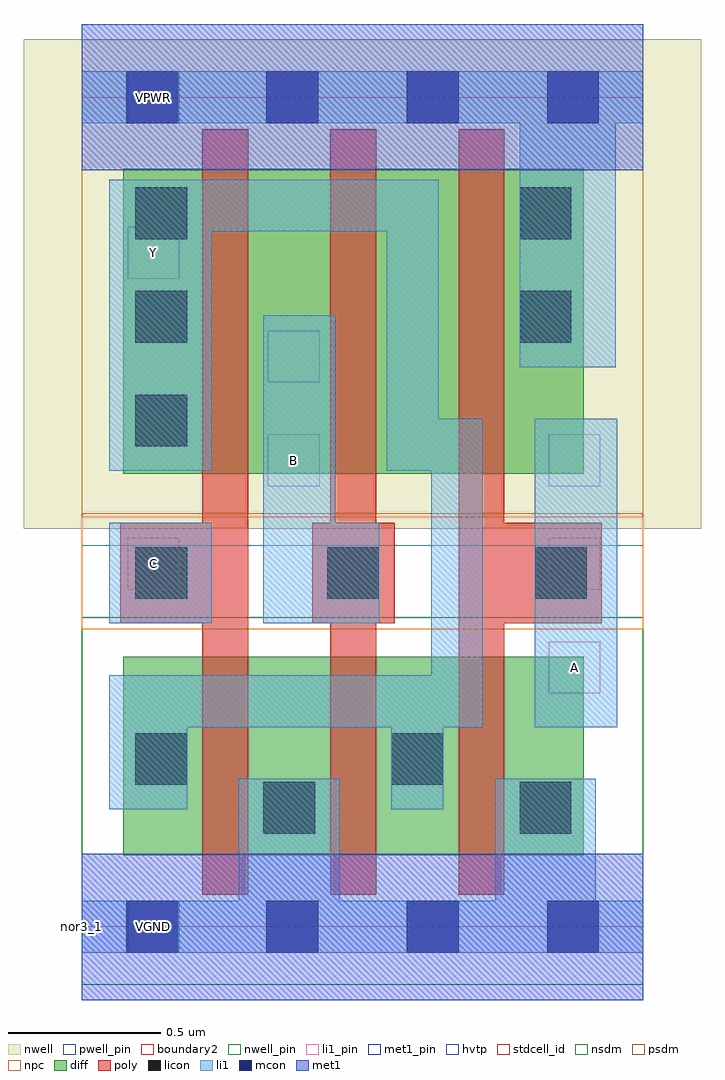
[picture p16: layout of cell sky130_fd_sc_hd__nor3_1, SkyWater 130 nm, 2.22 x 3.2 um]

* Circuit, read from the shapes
.subckt sky130_fd_sc_hd__nor3_1 A B C VGND VNB VPB VPWR Y
XM1 VGND C Y VNB sky130_fd_pr__nfet_01v8 w=0.65 l=0.15
XM2 Y B VGND VNB sky130_fd_pr__nfet_01v8 w=0.65 l=0.15
XM3 VGND A Y VNB sky130_fd_pr__nfet_01v8 w=0.65 l=0.15
XM4 n1 C Y VPB sky130_fd_pr__pfet_01v8_hvt w=1 l=0.15
XM5 n2 B n1 VPB sky130_fd_pr__pfet_01v8_hvt w=1 l=0.15
XM6 VPWR A n2 VPB sky130_fd_pr__pfet_01v8_hvt w=1 l=0.15
.ends

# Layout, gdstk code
import gdstk
lib = gdstk.Library(unit=1e-6, precision=1e-09)
def R(c, l, rs):  # rectangles x0, y0, x1, y1
    for r in rs: c.add(gdstk.rectangle(r[:2], r[2:], *l))
def P(c, l, *ps):  # polygons
    for p in ps: c.add(gdstk.Polygon(p, *l))
nwell_pin = (64, 16)
nwell = (64, 20)
diff = (65, 20)
poly = (66, 20)
licon = (66, 44)
li1_pin = (67, 16)
li1 = (67, 20)
mcon = (67, 44)
met1_pin = (68, 16)
met1 = (68, 20)
hvtp = (78, 44)
stdcell_id = (81, 4)
nsdm = (93, 44)
psdm = (94, 20)
npc = (95, 20)
pwell_pin = (122, 16)
boundary2 = (236, 0)

sky130_fd_sc_hd__nor3_1 = lib.new_cell('sky130_fd_sc_hd__nor3_1')
R(sky130_fd_sc_hd__nor3_1, nwell_pin, [(0.15,2.635,0.32,2.805), (0.15,2.635,0.32,2.805)])
R(sky130_fd_sc_hd__nor3_1, nwell, [(-0.19,1.305,2.03,2.91), (-0.19,1.305,2.03,2.91)])
R(sky130_fd_sc_hd__nor3_1, diff, [(0.135,0.235,1.645,0.885), (0.135,0.235,1.645,0.885), (0.135,1.485,1.645,2.485), (0.135,1.485,1.645,2.485)])
P(sky130_fd_sc_hd__nor3_1, poly, [(1.235,0.105),(1.235,2.615),(1.385,2.615),(1.385,1.325),(1.705,1.325),(1.705,0.995),(1.385,0.995),(1.385,0.105)],
  [(0.815,0.105),(0.815,0.995),(0.755,0.995),(0.755,1.325),(0.815,1.325),(0.815,2.615),(0.965,2.615),(0.965,1.325),(1.025,1.325),(1.025,0.995),(0.965,0.995),(0.965,0.105)],
  [(0.395,0.105),(0.395,0.995),(0.125,0.995),(0.125,1.325),(0.395,1.325),(0.395,2.615),(0.545,2.615),(0.545,0.105)],
  [(1.235,0.105),(1.235,2.615),(1.385,2.615),(1.385,1.325),(1.705,1.325),(1.705,0.995),(1.385,0.995),(1.385,0.105)],
  [(0.815,0.105),(0.815,0.995),(0.755,0.995),(0.755,1.325),(0.815,1.325),(0.815,2.615),(0.965,2.615),(0.965,1.325),(1.025,1.325),(1.025,0.995),(0.965,0.995),(0.965,0.105)],
  [(0.395,0.105),(0.395,0.995),(0.125,0.995),(0.125,1.325),(0.395,1.325),(0.395,2.615),(0.545,2.615),(0.545,0.105)])
R(sky130_fd_sc_hd__nor3_1, licon, [(0.595,0.305,0.765,0.475), (0.595,0.305,0.765,0.475), (1.435,0.305,1.605,0.475), (1.435,0.305,1.605,0.475), (0.175,0.465,0.345,0.635), (0.175,0.465,0.345,0.635), (1.015,0.465,1.185,0.635), (1.015,0.465,1.185,0.635), (0.175,1.075,0.345,1.245), (0.175,1.075,0.345,1.245), (0.805,1.075,0.975,1.245), (0.805,1.075,0.975,1.245), (1.485,1.075,1.655,1.245), (1.485,1.075,1.655,1.245), (0.175,1.575,0.345,1.745), (0.175,1.575,0.345,1.745), (0.175,1.915,0.345,2.085), (0.175,1.915,0.345,2.085), (1.435,1.915,1.605,2.085), (1.435,1.915,1.605,2.085), (0.175,2.255,0.345,2.425), (0.175,2.255,0.345,2.425), (1.435,2.255,1.605,2.425), (1.435,2.255,1.605,2.425)])
R(sky130_fd_sc_hd__nor3_1, li1_pin, [(1.53,0.765,1.7,0.935), (1.53,0.765,1.7,0.935), (0.15,1.105,0.32,1.275), (0.15,1.105,0.32,1.275), (1.53,1.105,1.7,1.275), (1.53,1.105,1.7,1.275), (0.61,1.445,0.78,1.615), (0.61,1.445,0.78,1.615), (1.53,1.445,1.7,1.615), (1.53,1.445,1.7,1.615), (0.61,1.785,0.78,1.955), (0.61,1.785,0.78,1.955), (0.15,2.125,0.32,2.295), (0.15,2.125,0.32,2.295)])
R(sky130_fd_sc_hd__nor3_1, li1, [(1.485,0.655,1.755,1.665), (1.485,0.655,1.755,1.665), (0.09,0.995,0.425,1.325), (0.09,0.995,0.425,1.325)])
P(sky130_fd_sc_hd__nor3_1, li1, [(0,-0.085),(0,0.085),(0.515,0.085),(0.515,0.485),(0.845,0.485),(0.845,0.085),(1.355,0.085),(1.355,0.485),(1.685,0.485),(1.685,0.085),(1.84,0.085),(1.84,-0.085)],
  [(1.435,1.835),(1.435,2.635),(0,2.635),(0,2.805),(1.84,2.805),(1.84,2.635),(1.75,2.635),(1.75,1.835)],
  [(0.595,0.995),(0.595,2.005),(0.83,2.005),(0.83,1.325),(0.975,1.325),(0.975,0.995)],
  [(0.09,0.385),(0.09,0.825),(1.145,0.825),(1.145,1.495),(1,1.495),(1,2.28),(0.425,2.28),(0.425,1.495),(0.09,1.495),(0.09,2.45),(1.17,2.45),(1.17,1.665),(1.315,1.665),(1.315,0.655),(1.185,0.655),(1.185,0.385),(1.015,0.385),(1.015,0.655),(0.345,0.655),(0.345,0.385)],
  [(0,-0.085),(0,0.085),(0.515,0.085),(0.515,0.485),(0.845,0.485),(0.845,0.085),(1.355,0.085),(1.355,0.485),(1.685,0.485),(1.685,0.085),(1.84,0.085),(1.84,-0.085)],
  [(1.435,1.835),(1.435,2.635),(0,2.635),(0,2.805),(1.84,2.805),(1.84,2.635),(1.75,2.635),(1.75,1.835)],
  [(0.595,0.995),(0.595,2.005),(0.83,2.005),(0.83,1.325),(0.975,1.325),(0.975,0.995)],
  [(0.09,0.385),(0.09,0.825),(1.145,0.825),(1.145,1.495),(1,1.495),(1,2.28),(0.425,2.28),(0.425,1.495),(0.09,1.495),(0.09,2.45),(1.17,2.45),(1.17,1.665),(1.315,1.665),(1.315,0.655),(1.185,0.655),(1.185,0.385),(1.015,0.385),(1.015,0.655),(0.345,0.655),(0.345,0.385)])
R(sky130_fd_sc_hd__nor3_1, mcon, [(0.145,-0.085,0.315,0.085), (0.145,-0.085,0.315,0.085), (0.605,-0.085,0.775,0.085), (0.605,-0.085,0.775,0.085), (1.065,-0.085,1.235,0.085), (1.065,-0.085,1.235,0.085), (1.525,-0.085,1.695,0.085), (1.525,-0.085,1.695,0.085), (0.145,2.635,0.315,2.805), (0.145,2.635,0.315,2.805), (0.605,2.635,0.775,2.805), (0.605,2.635,0.775,2.805), (1.065,2.635,1.235,2.805), (1.065,2.635,1.235,2.805), (1.525,2.635,1.695,2.805), (1.525,2.635,1.695,2.805)])
R(sky130_fd_sc_hd__nor3_1, met1_pin, [(0.15,-0.085,0.32,0.085), (0.15,-0.085,0.32,0.085), (0.15,2.635,0.32,2.805), (0.15,2.635,0.32,2.805)])
R(sky130_fd_sc_hd__nor3_1, hvtp, [(0,1.25,1.84,2.72), (0,1.25,1.84,2.72)])
R(sky130_fd_sc_hd__nor3_1, stdcell_id, [(0,0,1.84,2.72), (0,0,1.84,2.72)])
R(sky130_fd_sc_hd__nor3_1, nsdm, [(0,-0.19,1.84,1.015), (0,-0.19,1.84,1.015)])
R(sky130_fd_sc_hd__nor3_1, psdm, [(0,1.355,1.84,2.91), (0,1.355,1.84,2.91)])
R(sky130_fd_sc_hd__nor3_1, npc, [(0,0.975,1.84,1.345), (0,0.975,1.84,1.345)])
R(sky130_fd_sc_hd__nor3_1, pwell_pin, [(0.15,-0.085,0.32,0.085), (0.15,-0.085,0.32,0.085)])
R(sky130_fd_sc_hd__nor3_1, boundary2, [(0,0,1.84,2.72), (0,0,1.84,2.72)])
sky130_fd_sc_hd__nor3_1.add(gdstk.FlexPath([(0,2.72),(1.84,2.72)], 0.48, ends="flush", simple_path=True, layer=68, datatype=20))  # met1
sky130_fd_sc_hd__nor3_1.add(gdstk.FlexPath([(0,0),(1.84,0)], 0.48, ends="flush", simple_path=True, layer=68, datatype=20))  # met1
sky130_fd_sc_hd__nor3_1.add(gdstk.FlexPath([(0,2.72),(1.84,2.72)], 0.48, ends="flush", simple_path=True, layer=68, datatype=20))  # met1
sky130_fd_sc_hd__nor3_1.add(gdstk.FlexPath([(0,0),(1.84,0)], 0.48, ends="flush", simple_path=True, layer=68, datatype=20))  # met1
sky130_fd_sc_hd__nor3_1.add(gdstk.Label('C', (0.235,1.19), layer=67, texttype=5))
sky130_fd_sc_hd__nor3_1.add(gdstk.Label('Y', (0.235,2.21), layer=67, texttype=5))
sky130_fd_sc_hd__nor3_1.add(gdstk.Label('A', (1.615,0.85), layer=67, texttype=5))
sky130_fd_sc_hd__nor3_1.add(gdstk.Label('B', (0.695,1.53), layer=67, texttype=5))
sky130_fd_sc_hd__nor3_1.add(gdstk.Label('C', (0.235,1.19), layer=67, texttype=5))
sky130_fd_sc_hd__nor3_1.add(gdstk.Label('Y', (0.235,2.21), layer=67, texttype=5))
sky130_fd_sc_hd__nor3_1.add(gdstk.Label('A', (1.615,0.85), layer=67, texttype=5))
sky130_fd_sc_hd__nor3_1.add(gdstk.Label('B', (0.695,1.53), layer=67, texttype=5))
sky130_fd_sc_hd__nor3_1.add(gdstk.Label('VGND', (0.235,0), layer=68, texttype=5))
sky130_fd_sc_hd__nor3_1.add(gdstk.Label('VPWR', (0.235,2.72), layer=68, texttype=5))
sky130_fd_sc_hd__nor3_1.add(gdstk.Label('VGND', (0.235,0), layer=68, texttype=5))
sky130_fd_sc_hd__nor3_1.add(gdstk.Label('VPWR', (0.235,2.72), layer=68, texttype=5))
sky130_fd_sc_hd__nor3_1.add(gdstk.Label('VPB', (0.235,2.72), layer=64, texttype=5))
sky130_fd_sc_hd__nor3_1.add(gdstk.Label('VPB', (0.235,2.72), layer=64, texttype=5))
sky130_fd_sc_hd__nor3_1.add(gdstk.Label('VNB', (0.235,0), layer=64, texttype=59))
sky130_fd_sc_hd__nor3_1.add(gdstk.Label('VNB', (0.235,0), layer=64, texttype=59))
sky130_fd_sc_hd__nor3_1.add(gdstk.Label('nor3_1', (0,0), layer=83, texttype=44))
sky130_fd_sc_hd__nor3_1.add(gdstk.Label('nor3_1', (0,0), layer=83, texttype=44))

lib.write_gds('sky130_fd_sc_hd__nor3_1.gds')
